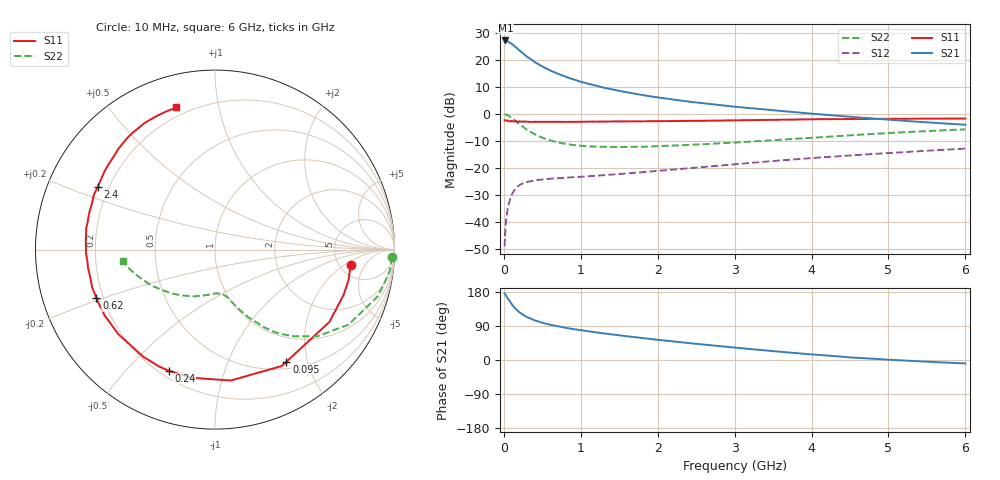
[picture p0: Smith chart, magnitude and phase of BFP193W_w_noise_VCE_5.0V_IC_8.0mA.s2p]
! Infineon Technologies  Discrete & RF Semiconductors
! BFP193W
! VCE = 5.0 V,  IC =  8.0 mA
! Common Emitter S-Parameters:  Jan 2016
# GHz  S  MA  R  50
!  f  S11  S21  S12  S22
! GHz  MAG  ANG  MAG  ANG  MAG  ANG  MAG  ANG
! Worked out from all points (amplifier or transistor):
!   210 points, 10 MHz to 6 GHz, reference 50 ohm
!   highest |S21| = 27.1 dB at 20 MHz (marker M1)
!   |S21| within 3 dB of that: start of sweep to 175.9 MHz
!   unconditionally stable (mu >= 1): 1.471 GHz to 4.322 GHz
!   at 185 MHz: K = 0.18, MSG = 25.3 dB, |S12| = -26.7 dB
!   at 1.52 GHz: K = 1.02, MAG = 14.4 dB, |S12| = -22.2 dB
!   at 6 GHz: K = 0.92, MSG = 4.4 dB, |S12| = -12.8 dB
!   lowest NFmin = 1.25 dB at 450 MHz
!   S11 on the Smith chart (normalised r, x): 10 MHz: 6.36, -2.53; 95 MHz: 0.60, -1.66; 240 MHz: 0.23, -0.66; 620 MHz: 0.17, -0.19; 2.4 GHz: 0.16, +0.25; 6 GHz: 0.15, +0.75
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0.01  0.7617 -6.3  22.71 175.6  0.0036 89.3  0.9871 -2.5
0.02  0.7628 -13.2  22.75 172.9  0.0075 82.1  0.9815 -6.7
0.03  0.7597 -19.4  22.57 169.5  0.011 80.4  0.968 -9.8
0.05  0.7542 -32.3  22.01 162.7  0.0178 74.4  0.9436 -16.0
0.095  0.7404 -57.5  20.02 149.3  0.0304 62.3  0.8605 -27.9
0.1  0.7477 -60.2  19.88 147.7  0.0318 61.6  0.8538 -29.3
0.15  0.7346 -83.1  17.39 135.3  0.0416 51.7  0.7491 -40.1
0.2  0.7261 -100.5  15.02 126.1  0.048 44.9  0.6531 -47.7
0.24  0.7223 -111.0  13.45 120.6  0.0515 40.7  0.5914 -52.4
0.3  0.7183 -123.8  11.43 113.2  0.0553 36.3  0.5103 -57.8
0.4  0.7155 -138.8  9.107 104.5  0.0591 31.9  0.4214 -63.7
0.5  0.7161 -149.1  7.513 98.1  0.0615 29.9  0.3638 -67.7
0.62  0.7138 -157.8  6.195 92.2  0.0637 28.8  0.3193 -71.1
0.8  0.7117 -167.5  4.863 85.0  0.0662 29.0  0.2798 -74.8
1.02  0.7149 -175.9  3.854 78.0  0.0691 30.1  0.2559 -79.4
1.42  0.7243 172.4  2.809 67.1  0.076 34.1  0.2445 -86.7
2.02  0.7331 158.8  1.999 52.9  0.0889 39.3  0.2546 -98.3
2.4  0.7411 151.7  1.688 44.7  0.099 41.7  0.2687 -106.0
3.1  0.7624 139.4  1.318 31.0  0.1209 43.7  0.3009 -121.0
4.1  0.7977 124.1  0.984 13.4  0.1564 42.4  0.3692 -142.4
5.1  0.8124 113.0  0.762 -0.2  0.193 38.7  0.4515 -160.6
6  0.821 105.2  0.631 -9.1  0.2286 34.4  0.5191 -172.7
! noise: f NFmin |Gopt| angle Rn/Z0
0.45  1.25  0.23  133  0.12
0.9  1.3  0.35  156  0.11
1.8  2  0.55  -155  0.13
